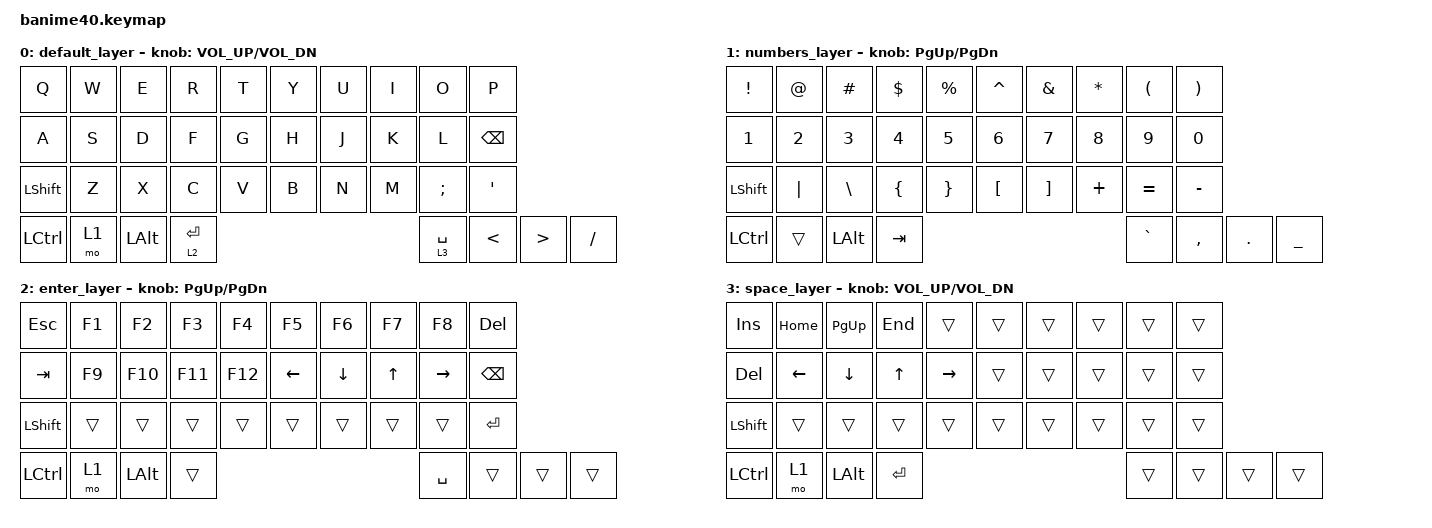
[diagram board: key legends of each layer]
#include <behaviors.dtsi>
#include <dt-bindings/zmk/keys.h>
#include <dt-bindings/zmk/bt.h>
#include <dt-bindings/zmk/rgb.h>

/ {
    keymap {
        compatible = "zmk,keymap";

        // Layer 0: Base QWERTY
        default_layer {
            bindings = <
                &kp Q    &kp W    &kp E    &kp R    &kp T    &kp Y    &kp U    &kp I    &kp O    &kp P
                &kp A    &kp S    &kp D    &kp F    &kp G    &kp H    &kp J    &kp K    &kp L    &kp BSPC
                &kp LSHFT &kp Z   &kp X    &kp C    &kp V    &kp B    &kp N    &kp M    &kp SEMI &kp SQT
                &kp LCTRL &mo 1   &kp LALT         &lt 2 ENTER      &lt 3 SPACE              &kp LT &kp GT &kp FSLH
            >;

            sensor-bindings = <&inc_dec_kp C_VOL_UP C_VOL_DN>;
        };

        // Layer 1: Numbers and symbols (accessed via MO(1))
        numbers_layer {
            bindings = <
                &kp EXCL &kp AT   &kp HASH &kp DLLR &kp PRCNT &kp CARET &kp AMPS &kp ASTRK &kp LPAR &kp RPAR
                &kp N1   &kp N2   &kp N3   &kp N4   &kp N5    &kp N6    &kp N7   &kp N8    &kp N9   &kp N0
                &kp LSHFT &kp PIPE &kp BSLH &kp LBRC &kp RBRC &kp LBKT  &kp RBKT &kp PLUS  &kp EQUAL &kp MINUS
                &kp LCTRL &trans  &kp LALT         &kp TAB           &kp GRAVE              &kp COMMA &kp DOT &kp UNDER
            >;

            sensor-bindings = <&inc_dec_kp PG_UP PG_DN>;
        };

        // Layer 2: Enter layer variants  
        enter_layer {
            bindings = <
                &kp ESC  &kp F1   &kp F2   &kp F3   &kp F4   &kp F5   &kp F6   &kp F7   &kp F8   &kp DEL
                &kp TAB  &kp F9   &kp F10  &kp F11  &kp F12  &kp LEFT &kp DOWN &kp UP   &kp RIGHT &kp BSPC
                &kp LSHFT &trans  &trans   &trans   &trans   &trans   &trans   &trans   &trans   &kp ENTER
                &kp LCTRL &mo 1   &kp LALT         &trans            &kp SPACE              &trans &trans &trans
            >;

            sensor-bindings = <&inc_dec_kp PG_UP PG_DN>;
        };

        // Layer 3: Space layer with media and navigation
        space_layer {
            bindings = <
                &kp INSERT &kp HOME &kp PG_UP &kp END  &trans    &trans   &trans   &trans   &trans   &trans
                &kp DEL    &kp LEFT &kp DOWN  &kp UP   &kp RIGHT &trans   &trans   &trans   &trans   &trans
                &kp LSHFT  &trans   &trans    &trans   &trans    &trans   &trans   &trans   &trans   &trans
                &kp LCTRL  &mo 1    &kp LALT           &kp ENTER          &trans                    &trans &trans &trans
            >;

            sensor-bindings = <&inc_dec_kp C_VOL_UP C_VOL_DN>;
        };
    };

    // Rotary encoder behavior for different actions
    behaviors {
        // Custom behavior for encoder button
        enc_btn: encoder_button {
            compatible = "zmk,behavior-hold-tap";
            label = "ENCODER_BUTTON";
            #binding-cells = <2>;
            flavor = "hold-preferred";
            tapping-term-ms = <200>;
            quick-tap-ms = <150>;
            bindings = <&bt BT_CLR_ALL>, <&sys_reset>;
        };
    };

    // Sensor configuration for rotary encoder
    sensors {
        compatible = "zmk,keymap-sensors";
        sensors = <&encoder>;
        triggers-per-rotation = <20>;
    };
};
